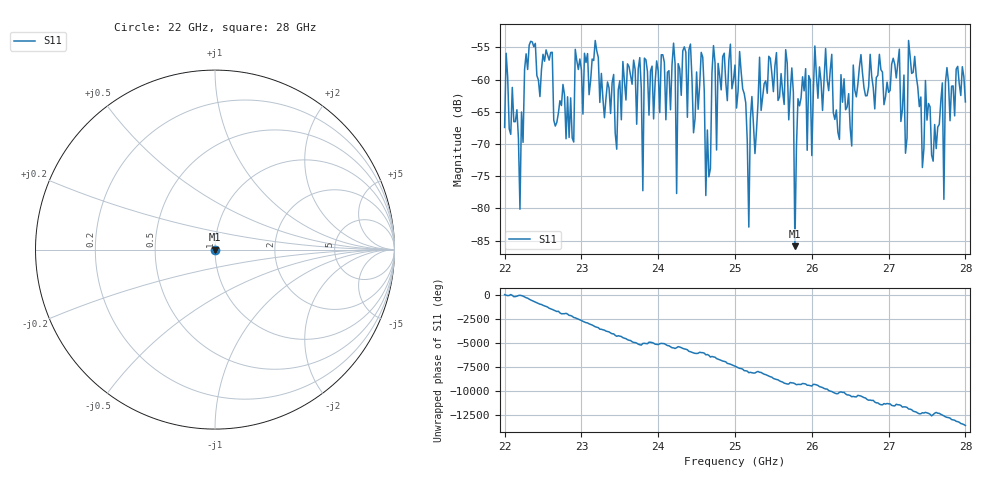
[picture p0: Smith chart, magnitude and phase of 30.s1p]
#  HZ  S  RI  R  50.00
! Rohde & Schwarz ZVA40 4Ports - Version 3.90 - 1145.1110k42 SN: 100403
! Date: 2023-10-04 06:55:42
! Measurement: S12
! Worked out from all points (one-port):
!   301 points, 22 GHz to 28 GHz, reference 50 ohm
!   lowest |S11| = -85.9 dB at 25.78 GHz (marker M1), VSWR 1.00, Z = 50 + j0.00404 ohm
!   |S11| at or under -10 dB: start of sweep to end of sweep
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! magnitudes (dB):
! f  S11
! 22 GHz  -67.4
! 22.76 GHz  -60.7
! 23.5 GHz  -60.2
! 23.76 GHz  -56.6
! 23.8 GHz  -77.2
! 23.82 GHz  -56.7
! 24.2 GHz  -54.3
! 24.24 GHz  -77.7
! 24.26 GHz  -57.5
! 24.58 GHz  -56.5
! 24.62 GHz  -78.0
! 24.72 GHz  -54.7
! 24.76 GHz  -70.9
! 25 GHz  -57.7
! 25.18 GHz  -82.9
! 25.32 GHz  -56.5
! 25.76 GHz  -62.0
! 25.78 GHz  -85.9
! 26.04 GHz  -54.8
! 26.5 GHz  -67.5
! 27.14 GHz  -55.3
! 27.22 GHz  -71.4
! 27.26 GHz  -53.9
! 27.44 GHz  -73.6
! 27.7 GHz  -60.5
! 27.72 GHz  -78.6
! 27.76 GHz  -58.1
! 28 GHz  -63.5
